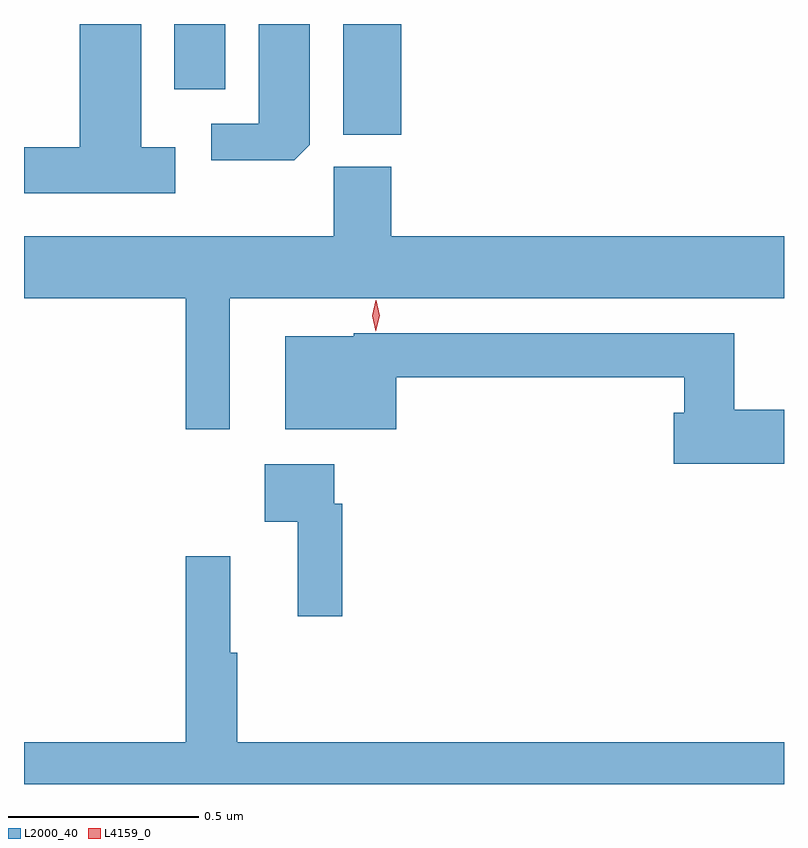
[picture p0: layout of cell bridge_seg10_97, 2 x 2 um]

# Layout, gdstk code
import gdstk
lib = gdstk.Library(unit=1e-6, precision=1e-09)
def R(c, l, rs):  # rectangles x0, y0, x1, y1
    for r in rs: c.add(gdstk.rectangle(r[:2], r[2:], *l))
def P(c, l, *ps):  # polygons
    for p in ps: c.add(gdstk.Polygon(p, *l))
L2000_40 = (2000, 40)
L4159_0 = (4159, 0)

bridge_seg10_97 = lib.new_cell('bridge_seg10_97')
R(bridge_seg10_97, L2000_40, [(562.286,1299.415,562.439,1299.706), (561.842,1299.534,561.976,1299.706)])
P(bridge_seg10_97, L2000_40, [(562.198,1299.388),(562.198,1299.706),(562.064,1299.706),(562.064,1299.444),(561.939,1299.444),(561.939,1299.347),(562.157,1299.347)],
  [(561.844,1299.382),(561.754,1299.382),(561.754,1299.706),(561.593,1299.706),(561.593,1299.382),(561.447,1299.382),(561.447,1299.26),(561.844,1299.26)],
  [(561.988,1298.984),(563.446,1298.984),(563.446,1299.148),(562.412,1299.148),(562.412,1299.33),(562.261,1299.33),(562.261,1299.148),(561.446,1299.148),(561.446,1298.984),(561.871,1298.984),(561.871,1298.64),(561.988,1298.64)],
  [(563.446,1298.691),(563.315,1298.691),(563.315,1298.892),(562.314,1298.892),(562.314,1298.884),(562.133,1298.884),(562.133,1298.639),(562.426,1298.639),(562.426,1298.776),(563.183,1298.776),(563.183,1298.683),(563.156,1298.683),(563.156,1298.549),(563.446,1298.549)],
  [(562.283,1298.444),(562.263,1298.444),(562.263,1298.548),(562.08,1298.548),(562.08,1298.396),(562.166,1298.396),(562.166,1298.148),(562.283,1298.148)],
  [(563.446,1297.816),(562.007,1297.816),(562.007,1298.052),(561.989,1298.052),(561.989,1298.305),(561.871,1298.305),(561.871,1297.816),(561.446,1297.816),(561.446,1297.706),(563.446,1297.706)])
P(bridge_seg10_97, L4159_0, [(562.371,1298.897),(562.362,1298.938),(562.372,1298.979),(562.373,1298.979),(562.373,1298.979),(562.382,1298.938),(562.372,1298.897),(562.372,1298.897)])

lib.write_gds('bridge_seg10_97.gds')
